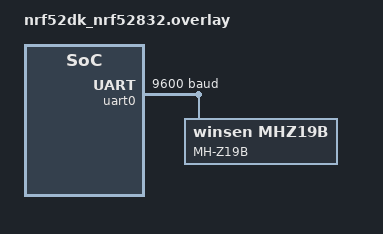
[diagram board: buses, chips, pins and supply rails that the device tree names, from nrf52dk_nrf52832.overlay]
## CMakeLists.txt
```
# SPDX-License-Identifier: Apache-2.0

cmake_minimum_required(VERSION 3.20.0)
find_package(Zephyr REQUIRED HINTS $ENV{ZEPHYR_BASE})
project(mhz19b)

FILE(GLOB app_sources src/*.c)
target_sources(app PRIVATE ${app_sources})
```

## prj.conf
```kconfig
CONFIG_STDOUT_CONSOLE=y
CONFIG_SERIAL=y
CONFIG_UART_INTERRUPT_DRIVEN=y
CONFIG_SENSOR=y
CONFIG_MHZ19B=y
```

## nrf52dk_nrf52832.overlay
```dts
&pinctrl {
    uart0_default: uart0_default {
        group1 {
            psels = <NRF_PSEL(UART_TX, 0, 6)>,
                <NRF_PSEL(UART_RX, 0, 8)>,
                <NRF_PSEL(UART_RTS, 0, 5)>,
                <NRF_PSEL(UART_CTS, 0, 7)>;
        };
    };

    uart0_sleep: uart0_sleep {
        group1 {
            psels = <NRF_PSEL(UART_TX, 0, 6)>,
                <NRF_PSEL(UART_RX, 0, 8)>,
                <NRF_PSEL(UART_RTS, 0, 5)>,
                <NRF_PSEL(UART_CTS, 0, 7)>;
            low-power-enable;
        };
    };
};
&uart0 {
    
    status = "okay";
    current-speed = <9600>;
    mhz19b:winsen-mhz19b {
        compatible = "winsen,mhz19b";
        maximum-range = <5000>;
        label = "MH-Z19B";
    };
};
```

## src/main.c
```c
/*
 * Copyright (c) 2021 G-Technologies Sdn. Bhd.
 *
 * SPDX-License-Identifier: Apache-2.0
 */

#include <zephyr/kernel.h>
#include <zephyr/sys/printk.h>
#include <zephyr/drivers/sensor.h>
#include <zephyr/drivers/sensor/mhz19b.h>

int main(void)
{
	const struct device *dev;
	struct sensor_value val;
	int ret;

	printk("Winsen MH-Z19B CO2 sensor application\n");

	dev = DEVICE_DT_GET_ONE(winsen_mhz19b);
	if (!device_is_ready(dev)) {
		printk("sensor: device not found.\n");
		return 0;
	}

	while (1) {
		if (sensor_sample_fetch(dev) != 0) {
			printk("sensor: sample fetch fail.\n");
			return 0;
		}

		if (sensor_channel_get(dev, SENSOR_CHAN_CO2, &val) != 0) {
			printk("sensor: channel get fail.\n");
			return 0;
		}

		printk("sensor: co2 reading: %d\n", val.val1);

		k_msleep(1000);
	}
	return 0;
}
```
